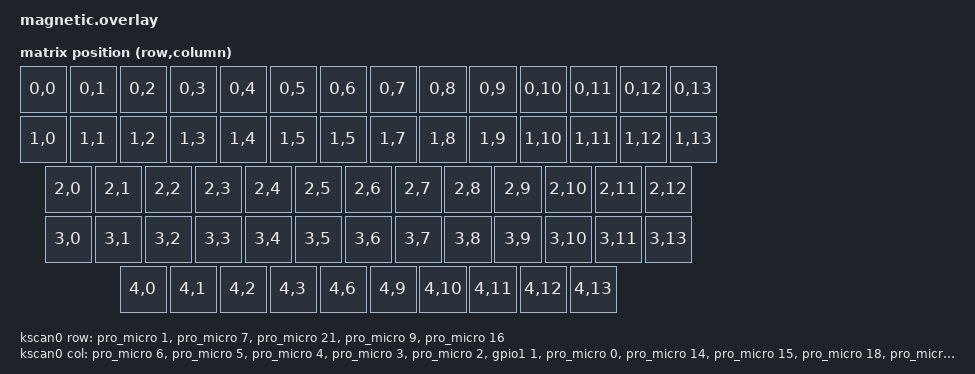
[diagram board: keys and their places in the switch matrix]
#include <dt-bindings/zmk/matrix_transform.h>
#include "magnetic-layouts.dtsi"

&default_layout {
    transform = <&default_transform>;
};

/ {
    chosen {
        zephyr,display = &oled;
        zmk,kscan = &kscan0;
        zmk,physical_layout = &default_layout;
    };

    kscan0: kscan0 {
        compatible = "zmk,kscan-gpio-matrix";
        diode-direction = "col2row";
        wakeup-source;

        col-gpios
            = <&pro_micro 6 GPIO_ACTIVE_HIGH>
            , <&pro_micro 5 GPIO_ACTIVE_HIGH>
            , <&pro_micro 4 GPIO_ACTIVE_HIGH>
            , <&pro_micro 3 GPIO_ACTIVE_HIGH>
            , <&pro_micro 2 GPIO_ACTIVE_HIGH>
            , <&gpio1 1 GPIO_ACTIVE_HIGH>
            , <&pro_micro 0 GPIO_ACTIVE_HIGH>
            , <&pro_micro 14 GPIO_ACTIVE_HIGH>
            , <&pro_micro 15 GPIO_ACTIVE_HIGH>
            , <&pro_micro 18 GPIO_ACTIVE_HIGH>
            , <&pro_micro 19 GPIO_ACTIVE_HIGH>
            , <&pro_micro 20 GPIO_ACTIVE_HIGH>
            , <&pro_micro 9 GPIO_ACTIVE_HIGH>
            , <&pro_micro 8 GPIO_ACTIVE_HIGH>
            ;

        row-gpios
            = <&pro_micro 1 (GPIO_ACTIVE_HIGH | GPIO_PULL_DOWN)>
            , <&pro_micro 7 (GPIO_ACTIVE_HIGH | GPIO_PULL_DOWN)>
            , <&pro_micro 21 (GPIO_ACTIVE_HIGH | GPIO_PULL_DOWN)>
            , <&pro_micro 9 (GPIO_ACTIVE_HIGH | GPIO_PULL_DOWN)>
            , <&pro_micro 16 (GPIO_ACTIVE_HIGH | GPIO_PULL_DOWN)>
            ;
    };

    default_transform: keymap_transform0 {
        compatible = "zmk,matrix-transform";
        columns = <14>; // Length of the "col-gpios" array
        rows = <5>; // Length of the "row-gpios" array
// | MX1  | MX2  | MX3  | MX4  | MX5  | MX6  | MX7  | MX8  | MX9  | MX10 | MX11 | MX12 | MX13 |    MX14  |
// |   MX15   | MX16 | MX17 | MX18 | MX19 | MX20 | MX21 | MX22 | MX23 | MX24 | MX25 | MX26 | MX27 | MX28 |
// |    MX29    | MX30 | MX31 | MX32 | MX33 | MX34 | MX35 | MX36 | MX37 | MX38 | MX39 | MX40 |     MX41  |
// |     MX42      | MX43 | MX44 | MX45 | MX46 | MX47 | MX48 | MX49 | MX50 | MX51 | MX52 |       MX53    | MX54 |
// | MX55 | MX56 | MX57 |  MX58  |                   MX59                    | MX60 | MX61 | MX62 | MX63 | MX64 |
        map = <
RC(0,0) RC(0,1) RC(0,2) RC(0,3) RC(0,4) RC(0,5) RC(0,6) RC(0,7) RC(0,8) RC(0,9) RC(0,10) RC(0,11) RC(0,12)   RC(0,13)
RC(1,0)   RC(1,1) RC(1,2) RC(1,3) RC(1,4) RC(1,5) RC(1,5) RC(1,7) RC(1,8) RC(1,9) RC(1,10) RC(1,11) RC(1,12) RC(1,13)
RC(2,0)    RC(2,1) RC(2,2) RC(2,3) RC(2,4) RC(2,5) RC(2,6) RC(2,7) RC(2,8) RC(2,9) RC(2,10) RC(2,11)         RC(2,12)
RC(3,0)      RC(3,1) RC(3,2) RC(3,3) RC(3,4) RC(3,5) RC(3,6) RC(3,7) RC(3,8) RC(3,9) RC(3,10)                RC(3,11) RC(3,13)
RC(4,0) RC(4,1) RC(4,2) RC(4,3)                     RC(4,6)                        RC(4,9) RC(4,10) RC(4,11) RC(4,12) RC(4,13)
      >;
    };
};

&pro_micro_i2c {
    compatible = "nordic,nrf-twim"; // I2C controller instead of generic
    status = "okay";
    pinctrl-0 = <&i2c0_default>;
    pinctrl-names = "default";
    clock-frequency = <I2C_BITRATE_FAST>;

    slider_module: mcp23017@20 {
        compatible = "microchip,mcp230xx";
        status = "okay";
        gpio-controller;
        reg = <0x20>;
        #gpio-cells = <2>;
        ngpios = <16>;
    };

    adc_input: ads1115@48 { 
        compatible = "ti,ads1115"; 
        status = "okay"; 
        reg = <0x48>;  
        #io-channel-cells = <1>; 
    }; 

    oled: ssd1306@3c{
        compatible = "solomon,ssd1306fb";
        reg = <0x3c>;
        width = <128>;
        height = <32>;
        segment-offset = <0>;
        page-offset = <0>;
        display-offset = <0>;
        multiplex-ratio = <63>;
        segment-remap;
        com-invdir;
        inversion-on;
        prechargep = <0x22>;
    };

/* Nodes using the bus go here */
};
